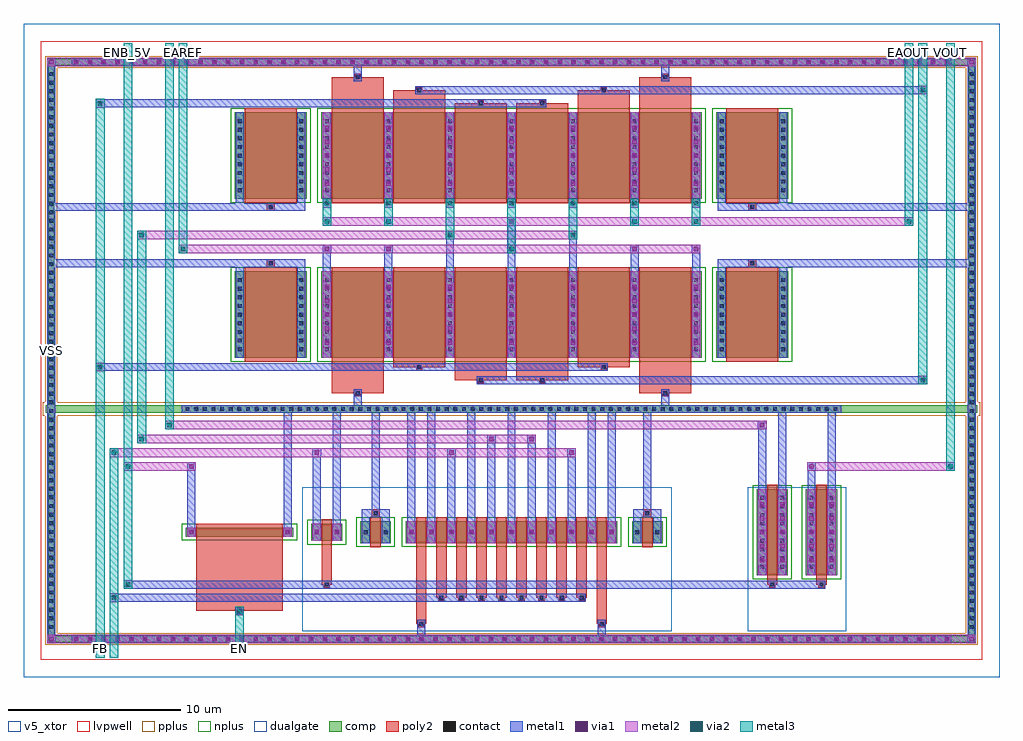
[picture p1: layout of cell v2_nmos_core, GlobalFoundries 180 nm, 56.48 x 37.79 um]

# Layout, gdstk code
import gdstk
lib = gdstk.Library(unit=1e-6, precision=1e-09)
def R(c, l, rs):  # rectangles x0, y0, x1, y1
    for r in rs: c.add(gdstk.rectangle(r[:2], r[2:], *l))
def A(c, l, x, y, w, h, nx, ny, dx, dy):  # array of equal rectangles
    R(c, l, [(x+i*dx, y+j*dy, x+i*dx+w, y+j*dy+h) for i in range(nx) for j in range(ny)])
def P(c, l, *ps):  # polygons
    for p in ps: c.add(gdstk.Polygon(p, *l))
comp = (22, 0)
poly2 = (30, 0)
pplus = (31, 0)
nplus = (32, 0)
contact = (33, 0)
metal1 = (34, 0)
via1 = (35, 0)
metal2 = (36, 0)
via2 = (38, 0)
metal3 = (42, 0)
dualgate = (55, 0)
v5_xtor = (112, 1)
lvpwell = (204, 0)

v2_nmos_core = lib.new_cell('v2_nmos_core')
A(v2_nmos_core, comp, -25.38, -0.365, 0.36, 0.36, 64, 2, 0.8, 33.38)
A(v2_nmos_core, comp, -26.82, 0.325, 0.36, 0.36, 1, 65, 0, 0.5)
A(v2_nmos_core, comp, 26.46, 0.325, 0.36, 0.36, 1, 65, 0, 0.5)
A(v2_nmos_core, comp, -18.93, 12.94, 0.36, 0.36, 76, 1, 0.5, 0)
R(v2_nmos_core, comp, [(-25.38,-0.365,25.38,-0.005), (-26.82,0.325,-26.46,32.685), (26.46,0.325,26.82,32.685), (14.19,3.49,15.99,8.49), (17.04,3.49,18.84,8.49), (-8.74,5.365,-6.98,6.615), (-6.12,5.365,6.12,6.615), (6.98,5.365,8.74,6.615), (-11.59,5.49,-9.79,6.49), (-18.84,5.74,-12.64,6.24), (-26.96,12.89,26.96,13.35), (-19.07,12.89,19.07,13.35), (-18.93,12.94,18.93,13.3), (-16.02,16.08,-11.86,21.08), (-11,16.08,11,21.08), (11.86,16.08,16.02,21.08), (-16.02,25.28,-11.86,30.28), (-11,25.28,11,30.28), (11.86,25.28,16.02,30.28), (-25.38,33.015,25.38,33.375)])
P(v2_nmos_core, comp, [(-26.82,-0.365),(-26.82,-0.005),(-26.46,-0.005),(26.46,-0.005),(26.46,33.015),(-26.46,33.015),(-26.46,-0.005),(-26.82,-0.005),(-26.82,33.375),(26.82,33.375),(26.82,-0.365)])
A(v2_nmos_core, poly2, -4.24, 2.02, 0.36, 0.36, 8, 1, 1.16, 0)
A(v2_nmos_core, poly2, -4.36, 2.2, 0.6, 2.925, 8, 1, 1.16, 0)
A(v2_nmos_core, poly2, -5.52, 5.125, 0.6, 1.73, 10, 1, 1.16, 0)
A(v2_nmos_core, poly2, -10.4, 15.84, 3, 5.48, 6, 2, 3.56, 9.2)
R(v2_nmos_core, poly2, [(-5.4,0.5,-5.04,0.86), (5.04,0.5,5.4,0.86), (-5.52,0.68,-4.92,5.125), (4.92,0.68,5.52,5.125), (-15.92,1.26,-15.56,1.62), (-18.24,1.44,-13.24,5.5), (-10.87,2.78,-10.51,3.14), (14.91,2.78,15.27,3.14), (17.76,2.78,18.12,3.14), (-10.99,2.96,-10.39,5.25), (14.79,2.96,15.39,3.25), (17.64,2.96,18.24,3.25), (14.79,3.25,15.39,8.73), (17.64,3.25,18.24,8.73), (-8.16,5.125,-7.56,6.855), (7.56,5.125,8.16,6.855), (-10.99,5.25,-10.39,6.73), (-18.24,5.5,-13.24,6.48), (-8.09,6.855,-7.63,7.315), (7.63,6.855,8.09,7.315), (-8.04,6.905,-7.68,7.265), (7.68,6.905,8.04,7.265), (-9.08,13.85,-8.72,14.21), (8.72,13.85,9.08,14.21), (-10.4,14.03,-7.4,15.84), (7.4,14.03,10.4,15.84), (-1.96,14.61,-1.6,14.97), (1.6,14.61,1.96,14.97), (-3.28,14.79,-0.28,15.84), (0.28,14.79,3.28,15.84), (-5.52,15.37,-5.16,15.73), (5.16,15.37,5.52,15.73), (-6.84,15.55,-3.84,15.84), (3.84,15.55,6.84,15.84), (-15.44,15.84,-12.44,21.32), (12.44,15.84,15.44,21.32), (-14.17,21.32,-13.71,21.78), (13.71,21.32,14.17,21.78), (-14.12,21.37,-13.76,21.73), (13.76,21.37,14.12,21.73), (-14.17,24.58,-13.71,25.04), (13.71,24.58,14.17,25.04), (-14.12,24.63,-13.76,24.99), (13.76,24.63,14.12,24.99), (-15.44,25.04,-12.44,30.52), (12.44,25.04,15.44,30.52), (-10.4,30.52,-7.4,32.33), (-6.84,30.52,-3.84,31.57), (-3.28,30.52,-0.28,30.81), (0.28,30.52,3.28,30.81), (3.84,30.52,6.84,31.57), (7.4,30.52,10.4,32.33), (-1.96,30.63,-1.6,30.99), (1.6,30.63,1.96,30.99), (-5.52,31.39,-5.16,31.75), (5.16,31.39,5.52,31.75), (-9.08,32.15,-8.72,32.51), (8.72,32.15,9.08,32.51)])
R(v2_nmos_core, pplus, [(-27.12,12.73,27.12,13.51), (-19.23,12.73,19.23,13.51)])
P(v2_nmos_core, pplus, [(-26.98,-0.525),(-26.98,0.155),(-26.3,0.155),(26.3,0.155),(26.3,32.855),(-26.3,32.855),(-26.3,0.155),(-26.98,0.155),(-26.98,33.535),(26.98,33.535),(26.98,-0.525)])
R(v2_nmos_core, nplus, [(13.96,3.26,16.22,8.72), (16.81,3.26,19.07,8.72), (-8.97,5.135,-6.75,6.845), (-6.35,5.135,6.35,6.845), (6.75,5.135,8.97,6.845), (-11.82,5.26,-9.56,6.72), (-19.07,5.51,-12.41,6.47), (-16.25,15.85,-11.63,21.31), (-11.23,15.85,11.23,21.31), (11.63,15.85,16.25,21.31), (-16.25,25.05,-11.63,30.51), (-11.23,25.05,11.23,30.51), (11.63,25.05,16.25,30.51)])
A(v2_nmos_core, contact, -25.31, -0.295, 0.22, 0.22, 64, 2, 0.8, 33.38)
A(v2_nmos_core, contact, -26.75, 0.395, 0.22, 0.22, 1, 65, 0, 0.5)
A(v2_nmos_core, contact, 26.53, 0.395, 0.22, 0.22, 1, 65, 0, 0.5)
A(v2_nmos_core, contact, -4.17, 2.09, 0.22, 0.22, 8, 1, 1.16, 0)
A(v2_nmos_core, contact, 14.4, 3.88, 0.22, 0.22, 1, 9, 0, 0.5)
A(v2_nmos_core, contact, 15.56, 3.88, 0.22, 0.22, 1, 9, 0, 0.5)
A(v2_nmos_core, contact, 17.25, 3.88, 0.22, 0.22, 1, 9, 0, 0.5)
A(v2_nmos_core, contact, 18.41, 3.88, 0.22, 0.22, 1, 9, 0, 0.5)
A(v2_nmos_core, contact, -5.91, 5.88, 0.22, 0.22, 11, 1, 1.16, 0)
A(v2_nmos_core, contact, -18.86, 13.01, 0.22, 0.22, 76, 1, 0.5, 0)
A(v2_nmos_core, contact, -15.83, 16.47, 0.22, 0.22, 1, 9, 0, 0.5)
A(v2_nmos_core, contact, -12.27, 16.47, 0.22, 0.22, 1, 9, 0, 0.5)
A(v2_nmos_core, contact, -10.79, 16.47, 0.22, 0.22, 7, 9, 3.56, 0.5)
A(v2_nmos_core, contact, 12.05, 16.47, 0.22, 0.22, 1, 9, 0, 0.5)
A(v2_nmos_core, contact, 15.61, 16.47, 0.22, 0.22, 1, 9, 0, 0.5)
A(v2_nmos_core, contact, -15.83, 25.67, 0.22, 0.22, 1, 9, 0, 0.5)
A(v2_nmos_core, contact, -12.27, 25.67, 0.22, 0.22, 1, 9, 0, 0.5)
A(v2_nmos_core, contact, -10.79, 25.67, 0.22, 0.22, 7, 9, 3.56, 0.5)
A(v2_nmos_core, contact, 12.05, 25.67, 0.22, 0.22, 1, 9, 0, 0.5)
A(v2_nmos_core, contact, 15.61, 25.67, 0.22, 0.22, 1, 9, 0, 0.5)
R(v2_nmos_core, contact, [(-5.33,0.57,-5.11,0.79), (5.11,0.57,5.33,0.79), (-15.85,1.33,-15.63,1.55), (-10.8,2.85,-10.58,3.07), (14.98,2.85,15.2,3.07), (17.83,2.85,18.05,3.07), (-18.63,5.88,-18.41,6.1), (-13.07,5.88,-12.85,6.1), (-11.38,5.88,-11.16,6.1), (-10.22,5.88,-10,6.1), (-8.55,5.88,-8.33,6.1), (-7.39,5.88,-7.17,6.1), (7.17,5.88,7.39,6.1), (8.33,5.88,8.55,6.1), (-7.97,6.975,-7.75,7.195), (7.75,6.975,7.97,7.195), (-9.01,13.92,-8.79,14.14), (8.79,13.92,9.01,14.14), (-1.89,14.68,-1.67,14.9), (1.67,14.68,1.89,14.9), (-5.45,15.44,-5.23,15.66), (5.23,15.44,5.45,15.66), (-14.05,21.44,-13.83,21.66), (13.83,21.44,14.05,21.66), (-14.05,24.7,-13.83,24.92), (13.83,24.7,14.05,24.92), (-1.89,30.7,-1.67,30.92), (1.67,30.7,1.89,30.92), (-5.45,31.46,-5.23,31.68), (5.23,31.46,5.45,31.68), (-9.01,32.22,-8.79,32.44), (8.79,32.22,9.01,32.44)])
A(v2_nmos_core, metal1, -25.45, -0.435, 0.5, 0.5, 64, 2, 0.8, 33.38)
A(v2_nmos_core, metal1, -26.87, 0.275, 0.46, 0.46, 1, 65, 0, 0.5)
A(v2_nmos_core, metal1, 26.41, 0.275, 0.46, 0.46, 1, 65, 0, 0.5)
A(v2_nmos_core, metal1, -4.29, 1.97, 0.46, 0.46, 8, 1, 1.16, 0)
A(v2_nmos_core, metal1, 14.28, 3.76, 0.46, 0.46, 1, 9, 0, 0.5)
A(v2_nmos_core, metal1, 15.44, 3.76, 0.46, 0.46, 1, 9, 0, 0.5)
A(v2_nmos_core, metal1, 17.13, 3.76, 0.46, 0.46, 1, 9, 0, 0.5)
A(v2_nmos_core, metal1, 18.29, 3.76, 0.46, 0.46, 1, 9, 0, 0.5)
A(v2_nmos_core, metal1, 14.26, 4.14, 0.5, 0.5, 1, 5, 0, 0.8)
A(v2_nmos_core, metal1, 15.42, 4.14, 0.5, 0.5, 1, 5, 0, 0.8)
A(v2_nmos_core, metal1, 17.11, 4.14, 0.5, 0.5, 1, 5, 0, 0.8)
A(v2_nmos_core, metal1, 18.27, 4.14, 0.5, 0.5, 1, 5, 0, 0.8)
A(v2_nmos_core, metal1, -6.03, 5.365, 0.46, 1.25, 11, 1, 1.16, 0)
A(v2_nmos_core, metal1, -6.03, 5.76, 0.46, 0.46, 11, 1, 1.16, 0)
A(v2_nmos_core, metal1, -4.87, 6.615, 0.46, 6.505, 5, 1, 2.32, 0)
A(v2_nmos_core, metal1, -18.98, 12.89, 0.46, 0.46, 76, 1, 0.5, 0)
A(v2_nmos_core, metal1, -10.91, 16.08, 0.46, 5, 7, 2, 3.56, 9.2)
A(v2_nmos_core, metal1, -15.95, 16.35, 0.46, 0.46, 1, 9, 0, 0.5)
A(v2_nmos_core, metal1, -12.39, 16.35, 0.46, 0.46, 1, 9, 0, 0.5)
A(v2_nmos_core, metal1, -10.91, 16.35, 0.46, 0.46, 7, 9, 3.56, 0.5)
A(v2_nmos_core, metal1, 11.93, 16.35, 0.46, 0.46, 1, 9, 0, 0.5)
A(v2_nmos_core, metal1, 15.49, 16.35, 0.46, 0.46, 1, 9, 0, 0.5)
A(v2_nmos_core, metal1, -10.93, 16.73, 0.5, 0.5, 7, 5, 3.56, 0.8)
A(v2_nmos_core, metal1, -10.93, 16.73, 0.5, 3.7, 7, 2, 3.56, 9.2)
A(v2_nmos_core, metal1, -10.93, 24.78, 0.5, 0.5, 7, 2, 3.56, 1.15)
A(v2_nmos_core, metal1, -15.95, 25.55, 0.46, 0.46, 1, 9, 0, 0.5)
A(v2_nmos_core, metal1, -12.39, 25.55, 0.46, 0.46, 1, 9, 0, 0.5)
A(v2_nmos_core, metal1, -10.91, 25.55, 0.46, 0.46, 7, 9, 3.56, 0.5)
A(v2_nmos_core, metal1, 11.93, 25.55, 0.46, 0.46, 1, 9, 0, 0.5)
A(v2_nmos_core, metal1, 15.49, 25.55, 0.46, 0.46, 1, 9, 0, 0.5)
A(v2_nmos_core, metal1, -10.93, 26.73, 0.5, 0.5, 7, 4, 3.56, 0.8)
R(v2_nmos_core, metal1, [(-26.87,-0.435,-26.37,0.065), (-26.87,-0.435,-26.37,0.065), (-26.87,-0.435,-26.41,-0.005), (-25.45,-0.435,25.45,0.065), (26.37,-0.435,26.87,0.065), (26.37,-0.435,26.87,0.065), (26.41,-0.435,26.87,-0.005), (-5.45,-0.25,-4.99,0.68), (4.99,-0.25,5.45,0.68), (-26.87,-0.005,-26.41,33.015), (26.41,-0.005,26.87,33.015), (-5.45,0.45,-4.99,0.91), (4.99,0.45,5.45,0.91), (-15.99,1.19,-15.49,1.69), (-15.97,1.21,-15.51,1.67), (-15.97,1.21,-15.51,1.67), (-23.25,1.95,-22.75,2.45), (-23.23,1.97,4.29,2.43), (-22.45,2.71,-21.95,3.21), (-22.43,2.73,18.17,3.19), (-10.92,2.73,-10.46,3.19), (14.86,2.73,15.32,3.19), (17.71,2.73,18.17,3.19), (14.28,3.49,14.74,8.49), (15.44,3.49,15.9,8.49), (17.13,3.49,17.59,8.49), (18.29,3.49,18.75,8.49), (14.26,4.14,14.76,7.84), (15.42,4.14,15.92,7.84), (17.11,4.14,17.61,7.84), (18.27,4.14,18.77,7.84), (-8.67,5.365,-8.21,6.615), (-7.51,5.365,-7.05,6.615), (7.05,5.365,7.51,6.615), (8.21,5.365,8.67,6.615), (-11.5,5.49,-11.04,6.49), (-10.34,5.49,-9.88,6.49), (-18.77,5.74,-18.27,6.24), (-18.77,5.74,-18.27,6.24), (-18.75,5.74,-18.29,6.24), (-13.21,5.74,-12.71,6.24), (-13.21,5.74,-12.71,6.24), (-13.19,5.74,-12.73,6.24), (-11.52,5.74,-11.02,6.24), (-11.52,5.74,-11.02,6.24), (-10.36,5.74,-9.86,6.24), (-10.36,5.74,-9.86,6.24), (-6.05,5.74,-5.55,6.24), (-6.05,5.74,-5.55,6.24), (-4.89,5.74,-4.39,6.24), (-4.89,5.74,-4.39,6.24), (-3.73,5.74,-3.23,6.24), (-3.73,5.74,-3.23,6.24), (-2.57,5.74,-2.07,6.24), (-2.57,5.74,-2.07,6.24), (-1.41,5.74,-0.91,6.24), (-1.41,5.74,-0.91,6.24), (-0.25,5.74,0.25,6.24), (-0.25,5.74,0.25,6.24), (0.91,5.74,1.41,6.24), (0.91,5.74,1.41,6.24), (2.07,5.74,2.57,6.24), (2.07,5.74,2.57,6.24), (3.23,5.74,3.73,6.24), (3.23,5.74,3.73,6.24), (4.39,5.74,4.89,6.24), (4.39,5.74,4.89,6.24), (5.55,5.74,6.05,6.24), (5.55,5.74,6.05,6.24), (-18.75,5.76,-18.29,6.22), (-13.19,5.76,-12.73,6.22), (-11.5,5.76,-11.04,6.22), (-10.34,5.76,-9.88,6.22), (-8.67,5.76,-8.21,6.22), (-7.51,5.76,-7.05,6.22), (7.05,5.76,7.51,6.22), (8.21,5.76,8.67,6.22), (-18.75,6.24,-18.29,9.79), (-13.19,6.24,-12.73,13.12), (-11.5,6.49,-11.04,10.59), (-10.34,6.49,-9.88,13.12), (-8.67,6.615,-8.21,7.315), (-7.51,6.615,-7.05,7.315), (-6.03,6.615,-5.57,13.12), (-3.71,6.615,-3.25,10.59), (-1.39,6.615,-0.93,11.39), (0.93,6.615,1.39,11.39), (3.25,6.615,3.71,10.59), (5.57,6.615,6.03,13.12), (7.05,6.615,7.51,7.315), (8.21,6.615,8.67,7.315), (-8.67,6.855,-8.09,7.315), (-8.09,6.855,-7.63,7.315), (-7.63,6.855,-7.05,7.315), (7.05,6.855,7.63,7.315), (7.63,6.855,8.09,7.315), (8.09,6.855,8.67,7.315), (-8.09,7.315,-7.63,13.12), (7.63,7.315,8.09,13.12), (14.28,8.49,14.74,12.19), (15.44,8.49,15.9,13.12), (17.13,8.49,17.59,9.79), (18.29,8.49,18.75,13.12), (-18.77,9.54,-18.27,10.04), (17.11,9.54,17.61,10.04), (-11.52,10.34,-11.02,10.84), (-3.73,10.34,-3.23,10.84), (3.23,10.34,3.73,10.84), (-1.41,11.14,-0.91,11.64), (0.91,11.14,1.41,11.64), (14.26,11.94,14.76,12.44), (-19.07,12.89,19.07,13.35), (-9.13,13.12,-8.67,14.03), (8.67,13.12,9.13,14.03), (-9.13,13.8,-8.67,14.26), (8.67,13.8,9.13,14.26), (23.55,14.54,24.05,15.04), (-2.01,14.56,24.03,15.02), (-2.01,14.56,-1.55,15.02), (1.55,14.56,2.01,15.02), (-24.05,15.3,-23.55,15.8), (-24.03,15.32,5.57,15.78), (-5.57,15.32,-5.11,15.78), (5.11,15.32,5.57,15.78), (-15.95,16.08,-15.49,21.08), (-12.39,16.08,-11.93,21.08), (11.93,16.08,12.39,21.08), (15.49,16.08,15.95,21.08), (-15.95,21.08,-15.49,21.78), (-12.39,21.08,-11.93,21.78), (-10.91,21.08,-10.45,22.38), (-7.35,21.08,-6.89,22.38), (-3.79,21.08,-3.33,23.18), (-0.23,21.08,0.23,23.98), (3.33,21.08,3.79,23.18), (6.89,21.08,7.35,22.38), (10.45,21.08,10.91,22.38), (11.93,21.08,12.39,21.78), (15.49,21.08,15.95,21.78), (-26.71,21.32,-13.71,21.78), (-15.95,21.32,-14.17,21.78), (-14.17,21.32,-13.71,21.78), (-13.71,21.32,-11.93,21.78), (11.93,21.32,13.71,21.78), (13.71,21.32,14.17,21.78), (13.71,21.32,26.71,21.78), (14.17,21.32,15.95,21.78), (-10.93,22.13,-10.43,22.63), (-7.37,22.13,-6.87,22.63), (6.87,22.13,7.37,22.63), (10.43,22.13,10.93,22.63), (-3.81,22.93,-3.31,23.43), (3.31,22.93,3.81,23.43), (-0.25,23.73,0.25,24.23), (-26.71,24.58,-13.71,25.04), (-15.95,24.58,-14.17,25.04), (-15.95,24.58,-15.49,25.28), (-14.17,24.58,-13.71,25.04), (-13.71,24.58,-11.93,25.04), (-12.39,24.58,-11.93,25.28), (11.93,24.58,13.71,25.04), (11.93,24.58,12.39,25.28), (13.71,24.58,14.17,25.04), (13.71,24.58,26.71,25.04), (14.17,24.58,15.95,25.04), (15.49,24.58,15.95,25.28), (-15.95,25.28,-15.49,30.28), (-12.39,25.28,-11.93,30.28), (11.93,25.28,12.39,30.28), (15.49,25.28,15.95,30.28), (-24.05,30.56,-23.55,31.06), (-24.03,30.58,2.01,31.04), (-2.01,30.58,-1.55,31.04), (1.55,30.58,2.01,31.04), (23.55,31.32,24.05,31.82), (-5.57,31.34,24.03,31.8), (-5.57,31.34,-5.11,31.8), (5.11,31.34,5.57,31.8), (-9.13,32.1,-8.67,32.56), (8.67,32.1,9.13,32.56), (-9.13,32.33,-8.67,33.26), (8.67,32.33,9.13,33.26), (-26.87,32.945,-26.37,33.445), (-26.87,32.945,-26.37,33.445), (-25.45,32.945,25.45,33.445), (26.37,32.945,26.87,33.445), (26.37,32.945,26.87,33.445), (-26.87,33.015,-26.41,33.445), (26.41,33.015,26.87,33.445)])
A(v2_nmos_core, via1, -25.33, -0.315, 0.26, 0.26, 64, 2, 0.8, 33.38)
A(v2_nmos_core, via1, 14.38, 4.26, 0.26, 0.26, 1, 5, 0, 0.8)
A(v2_nmos_core, via1, 15.54, 4.26, 0.26, 0.26, 1, 5, 0, 0.8)
A(v2_nmos_core, via1, 17.23, 4.26, 0.26, 0.26, 1, 5, 0, 0.8)
A(v2_nmos_core, via1, 18.39, 4.26, 0.26, 0.26, 1, 5, 0, 0.8)
A(v2_nmos_core, via1, -5.93, 5.86, 0.26, 0.26, 11, 1, 1.16, 0)
A(v2_nmos_core, via1, -10.81, 16.85, 0.26, 0.26, 7, 5, 3.56, 0.8)
A(v2_nmos_core, via1, -10.81, 24.9, 0.26, 0.26, 7, 2, 3.56, 1.15)
A(v2_nmos_core, via1, -10.81, 26.85, 0.26, 0.26, 7, 4, 3.56, 0.8)
R(v2_nmos_core, via1, [(-26.75,-0.315,-26.49,-0.055), (26.49,-0.315,26.75,-0.055), (-15.87,1.31,-15.61,1.57), (-23.13,2.07,-22.87,2.33), (-22.33,2.83,-22.07,3.09), (-18.65,5.86,-18.39,6.12), (-13.09,5.86,-12.83,6.12), (-11.4,5.86,-11.14,6.12), (-10.24,5.86,-9.98,6.12), (-18.65,9.66,-18.39,9.92), (17.23,9.66,17.49,9.92), (-11.4,10.46,-11.14,10.72), (-3.61,10.46,-3.35,10.72), (3.35,10.46,3.61,10.72), (-1.29,11.26,-1.03,11.52), (1.03,11.26,1.29,11.52), (14.38,12.06,14.64,12.32), (23.67,14.66,23.93,14.92), (-23.93,15.42,-23.67,15.68), (-10.81,22.25,-10.55,22.51), (-7.25,22.25,-6.99,22.51), (6.99,22.25,7.25,22.51), (10.55,22.25,10.81,22.51), (-3.69,23.05,-3.43,23.31), (3.43,23.05,3.69,23.31), (-0.13,23.85,0.13,24.11), (-23.93,30.68,-23.67,30.94), (23.67,31.44,23.93,31.7), (-26.75,33.065,-26.49,33.325), (26.49,33.065,26.75,33.325)])
A(v2_nmos_core, metal2, -25.45, -0.435, 0.5, 0.5, 64, 2, 0.8, 33.38)
A(v2_nmos_core, metal2, 14.26, 4.14, 0.5, 0.5, 1, 5, 0, 0.8)
A(v2_nmos_core, metal2, 15.42, 4.14, 0.5, 0.5, 1, 5, 0, 0.8)
A(v2_nmos_core, metal2, 17.11, 4.14, 0.5, 0.5, 1, 5, 0, 0.8)
A(v2_nmos_core, metal2, 18.27, 4.14, 0.5, 0.5, 1, 5, 0, 0.8)
A(v2_nmos_core, metal2, -6.05, 5.365, 0.5, 1.25, 11, 1, 1.16, 0)
A(v2_nmos_core, metal2, -6.05, 5.74, 0.5, 0.5, 11, 1, 1.16, 0)
A(v2_nmos_core, metal2, -10.93, 16.08, 0.5, 5, 7, 2, 3.56, 9.2)
A(v2_nmos_core, metal2, -10.93, 16.73, 0.5, 0.5, 7, 5, 3.56, 0.8)
A(v2_nmos_core, metal2, -7.37, 22.13, 0.5, 0.5, 3, 2, 7.12, 1.6)
A(v2_nmos_core, metal2, -10.93, 24.78, 0.5, 0.5, 7, 2, 3.56, 1.15)
A(v2_nmos_core, metal2, -10.93, 26.73, 0.5, 0.5, 7, 4, 3.56, 0.8)
R(v2_nmos_core, metal2, [(-26.87,-0.435,-26.37,0.065), (-26.87,-0.435,-26.37,0.065), (-26.87,-0.435,-26.46,0.065), (-26.46,-0.435,26.46,0.065), (26.37,-0.435,26.87,0.065), (26.37,-0.435,26.87,0.065), (26.46,-0.435,26.87,0.065), (-15.99,1.19,-15.49,1.69), (-23.25,1.95,-22.75,2.45), (-22.45,2.71,-21.95,3.21), (14.26,3.49,14.76,8.49), (15.42,3.49,15.92,8.49), (17.11,3.49,17.61,8.49), (18.27,3.49,18.77,8.49), (-11.52,5.49,-11.02,6.49), (-10.36,5.49,-9.86,6.49), (-18.77,5.74,-18.27,6.24), (-18.77,5.74,-18.27,6.24), (-13.21,5.74,-12.71,6.24), (-13.21,5.74,-12.71,6.24), (-11.52,5.74,-11.02,6.24), (-10.36,5.74,-9.86,6.24), (-22.45,9.54,-21.95,10.04), (-22.45,9.54,-18.27,10.04), (-18.77,9.54,-18.27,10.04), (17.11,9.54,17.61,10.04), (17.11,9.54,25.65,10.04), (25.15,9.54,25.65,10.04), (-23.25,10.34,3.73,10.84), (-23.25,10.34,-22.75,10.84), (-11.52,10.34,-11.02,10.84), (-3.73,10.34,-3.23,10.84), (3.23,10.34,3.73,10.84), (-21.65,11.14,1.41,11.64), (-21.65,11.14,-21.15,11.64), (-1.41,11.14,-0.91,11.64), (0.91,11.14,1.41,11.64), (-20.05,11.94,14.76,12.44), (-20.05,11.94,-19.55,12.44), (14.26,11.94,14.76,12.44), (23.55,14.54,24.05,15.04), (-24.05,15.3,-23.55,15.8), (-19.25,22.13,10.93,22.63), (-19.25,22.13,-18.75,22.63), (-10.93,22.13,-10.43,22.63), (10.43,22.13,10.93,22.63), (-21.65,22.93,3.81,23.43), (-21.65,22.93,-21.15,23.43), (-3.81,22.93,-3.31,23.43), (-3.81,22.93,-3.31,23.43), (3.31,22.93,3.81,23.43), (3.31,22.93,3.81,23.43), (-10.93,23.73,23.25,24.23), (-10.93,23.73,-10.43,24.23), (10.43,23.73,10.93,24.23), (22.75,23.73,23.25,24.23), (-24.05,30.56,-23.55,31.06), (23.55,31.32,24.05,31.82), (-26.87,32.945,-26.37,33.445), (-26.87,32.945,-26.37,33.445), (-26.87,32.945,-26.46,33.445), (-26.46,32.945,26.46,33.445), (26.37,32.945,26.87,33.445), (26.37,32.945,26.87,33.445), (26.46,32.945,26.87,33.445)])
A(v2_nmos_core, via2, -10.81, 24.9, 0.26, 0.26, 7, 1, 3.56, 0)
R(v2_nmos_core, via2, [(-15.87,1.31,-15.61,1.57), (-23.13,2.07,-22.87,2.33), (-22.33,2.83,-22.07,3.09), (-22.33,9.66,-22.07,9.92), (25.27,9.66,25.53,9.92), (-23.13,10.46,-22.87,10.72), (-21.53,11.26,-21.27,11.52), (-19.93,12.06,-19.67,12.32), (23.67,14.66,23.93,14.92), (-23.93,15.42,-23.67,15.68), (-19.13,22.25,-18.87,22.51), (-0.13,22.25,0.13,22.51), (-21.53,23.05,-21.27,23.31), (-3.69,23.05,-3.43,23.31), (3.43,23.05,3.69,23.31), (-10.81,23.85,-10.55,24.11), (-7.25,23.85,-6.99,24.11), (6.99,23.85,7.25,24.11), (10.55,23.85,10.81,24.11), (22.87,23.85,23.13,24.11), (-23.93,30.68,-23.67,30.94), (23.67,31.44,23.93,31.7)])
A(v2_nmos_core, metal3, -10.93, 24.78, 0.5, 0.5, 7, 1, 3.56, 0)
R(v2_nmos_core, metal3, [(-24.05,-1.27,-23.55,31.06), (-23.25,-1.27,-22.75,10.84), (-15.99,-1.02,-15.49,1.44), (-15.99,1.19,-15.49,1.69), (-23.25,1.95,-22.75,2.45), (-22.45,2.71,-21.95,34.28), (-22.45,2.71,-21.95,3.21), (-22.45,9.54,-21.95,10.04), (25.15,9.54,25.65,34.28), (25.15,9.54,25.65,10.04), (-23.25,10.34,-22.75,10.84), (-21.65,11.14,-21.15,23.43), (-21.65,11.14,-21.15,11.64), (-20.05,11.94,-19.55,34.28), (-20.05,11.94,-19.55,12.44), (23.55,14.54,24.05,34.28), (23.55,14.54,24.05,15.04), (-24.05,15.3,-23.55,15.8), (-19.25,22.13,-18.75,34.28), (-19.25,22.13,-18.75,22.63), (-0.25,22.13,0.25,22.63), (-0.25,22.38,0.25,25.03), (-21.65,22.93,-21.15,23.43), (-3.81,22.93,-3.31,23.43), (3.31,22.93,3.81,23.43), (-3.81,23.18,-3.31,25.03), (3.31,23.18,3.81,25.03), (-10.93,23.73,-10.43,24.23), (-7.37,23.73,-6.87,24.23), (6.87,23.73,7.37,24.23), (10.43,23.73,10.93,24.23), (22.75,23.73,23.25,34.28), (22.75,23.73,23.25,24.23), (-10.93,23.98,-10.43,25.03), (-7.37,23.98,-6.87,25.03), (6.87,23.98,7.37,25.03), (10.43,23.98,10.93,25.03), (-24.05,30.56,-23.55,31.06), (23.55,31.32,24.05,31.82)])
R(v2_nmos_core, dualgate, [(-28.24,-2.39,28.24,35.4)])
R(v2_nmos_core, v5_xtor, [(-12.115,0.25,-9.265,8.59), (-9.265,0.25,9.265,8.59), (13.665,0.25,16.515,8.59), (16.515,0.25,19.365,8.59)])
R(v2_nmos_core, lvpwell, [(-27.24,-1.39,27.24,34.4)])
v2_nmos_core.add(gdstk.Label('EAOUT', (23,33.73), layer=42, texttype=10))
v2_nmos_core.add(gdstk.Label('EAREF', (-19,33.73), layer=42, texttype=10))
v2_nmos_core.add(gdstk.Label('ENB_5V', (-22.2,33.73), layer=42, texttype=10))
v2_nmos_core.add(gdstk.Label('EN_5V', (-19.8,33.73), layer=42, texttype=10))
v2_nmos_core.add(gdstk.Label('FB', (-23.8,-0.72), layer=42, texttype=10))
v2_nmos_core.add(gdstk.Label('IREF', (-23,-0.72), layer=42, texttype=10))
v2_nmos_core.add(gdstk.Label('VOUT', (25.4,33.73), layer=42, texttype=10))
v2_nmos_core.add(gdstk.Label('VREF', (23.8,33.73), layer=42, texttype=10))
v2_nmos_core.add(gdstk.Label('EN', (-15.74,-0.72), layer=42, texttype=10))
v2_nmos_core.add(gdstk.Label('VSS', (-26.61,16.505), layer=34, texttype=10))

lib.write_gds('v2_nmos_core.gds')
